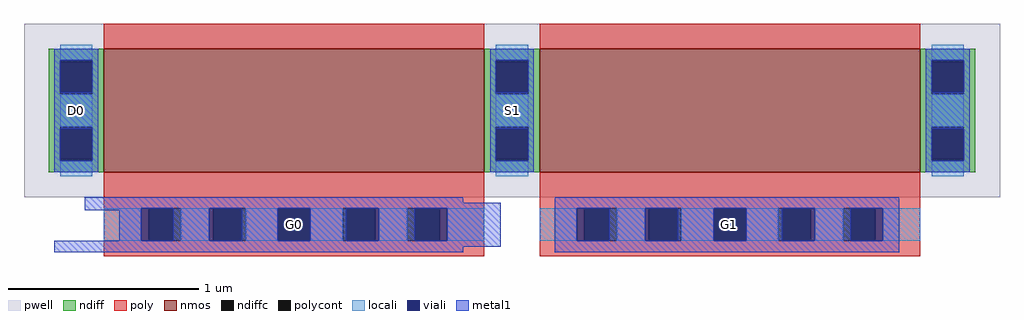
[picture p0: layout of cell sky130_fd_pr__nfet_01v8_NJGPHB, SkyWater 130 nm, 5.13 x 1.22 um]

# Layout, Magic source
magic
tech sky130A
magscale 1 2
<< pwell >>
rect -513 -60 513 122
<< nmos >>
rect -429 -34 -29 96
rect 29 -34 429 96
<< ndiff >>
rect -487 82 -429 96
rect -487 48 -475 82
rect -441 48 -429 82
rect -487 14 -429 48
rect -487 -20 -475 14
rect -441 -20 -429 14
rect -487 -34 -429 -20
rect -29 82 29 96
rect -29 48 -17 82
rect 17 48 29 82
rect -29 14 29 48
rect -29 -20 -17 14
rect 17 -20 29 14
rect -29 -34 29 -20
rect 429 82 487 96
rect 429 48 441 82
rect 475 48 487 82
rect 429 14 487 48
rect 429 -20 441 14
rect 475 -20 487 14
rect 429 -34 487 -20
<< ndiffc >>
rect -475 48 -441 82
rect -475 -20 -441 14
rect -17 48 17 82
rect -17 -20 17 14
rect 441 48 475 82
rect 441 -20 475 14
<< poly >>
rect -429 96 -29 122
rect 29 96 429 122
rect -429 -72 -29 -34
rect -429 -106 -382 -72
rect -348 -106 -314 -72
rect -280 -106 -246 -72
rect -212 -106 -178 -72
rect -144 -106 -110 -72
rect -76 -106 -29 -72
rect -429 -122 -29 -106
rect 29 -72 429 -34
rect 29 -106 76 -72
rect 110 -106 144 -72
rect 178 -106 212 -72
rect 246 -106 280 -72
rect 314 -106 348 -72
rect 382 -106 429 -72
rect 29 -122 429 -106
<< polycont >>
rect -382 -106 -348 -72
rect -314 -106 -280 -72
rect -246 -106 -212 -72
rect -178 -106 -144 -72
rect -110 -106 -76 -72
rect 76 -106 110 -72
rect 144 -106 178 -72
rect 212 -106 246 -72
rect 280 -106 314 -72
rect 348 -106 382 -72
<< locali >>
rect -475 84 -441 100
rect -475 14 -441 48
rect -475 -38 -441 -22
rect -17 84 17 100
rect -17 14 17 48
rect -17 -38 17 -22
rect 441 84 475 100
rect 441 14 475 48
rect 441 -38 475 -22
rect -429 -106 -390 -72
rect -348 -106 -318 -72
rect -280 -106 -246 -72
rect -212 -106 -178 -72
rect -140 -106 -110 -72
rect -68 -106 -29 -72
rect 29 -106 68 -72
rect 110 -106 140 -72
rect 178 -106 212 -72
rect 246 -106 280 -72
rect 318 -106 348 -72
rect 390 -106 429 -72
<< viali >>
rect -475 82 -441 84
rect -475 50 -441 82
rect -475 -20 -441 12
rect -475 -22 -441 -20
rect -17 82 17 84
rect -17 50 17 82
rect -17 -20 17 12
rect -17 -22 17 -20
rect 441 82 475 84
rect 441 50 475 82
rect 441 -20 475 12
rect 441 -22 475 -20
rect -390 -106 -382 -72
rect -382 -106 -356 -72
rect -318 -106 -314 -72
rect -314 -106 -284 -72
rect -246 -106 -212 -72
rect -174 -106 -144 -72
rect -144 -106 -140 -72
rect -102 -106 -76 -72
rect -76 -106 -68 -72
rect 68 -106 76 -72
rect 76 -106 102 -72
rect 140 -106 144 -72
rect 144 -106 174 -72
rect 212 -106 246 -72
rect 284 -106 314 -72
rect 314 -106 318 -72
rect 356 -106 382 -72
rect 382 -106 390 -72
<< metal1 >>
rect -481 84 -435 96
rect -481 50 -475 84
rect -441 50 -435 84
rect -481 12 -435 50
rect -481 -22 -475 12
rect -441 -22 -435 12
rect -481 -34 -435 -22
rect -23 84 23 96
rect -23 50 -17 84
rect 17 50 23 84
rect -23 12 23 50
rect -23 -22 -17 12
rect 17 -22 23 12
rect -23 -34 23 -22
rect 435 84 481 96
rect 435 50 441 84
rect 475 50 481 84
rect 435 12 481 50
rect 435 -22 441 12
rect 475 -22 481 12
rect 435 -34 481 -22
rect -449 -66 -51 -60
rect -449 -72 -12 -66
rect -449 -74 -390 -72
rect -413 -106 -390 -74
rect -356 -106 -318 -72
rect -284 -106 -246 -72
rect -212 -106 -174 -72
rect -140 -106 -102 -72
rect -68 -106 -12 -72
rect -481 -112 -12 -106
rect 45 -72 407 -60
rect 45 -106 68 -72
rect 102 -106 140 -72
rect 174 -106 212 -72
rect 246 -106 284 -72
rect 318 -106 356 -72
rect 390 -106 407 -72
rect -481 -118 -51 -112
rect 45 -118 407 -106
<< labels >>
rlabel locali s -458 31 -458 31 4 D0
rlabel locali s -229 -89 -229 -89 4 G0
rlabel locali s 0 31 0 31 4 S1
rlabel locali s -229 -89 -229 -89 4 G1
rlabel locali s 229 -89 229 -89 4 G1
<< end >>
